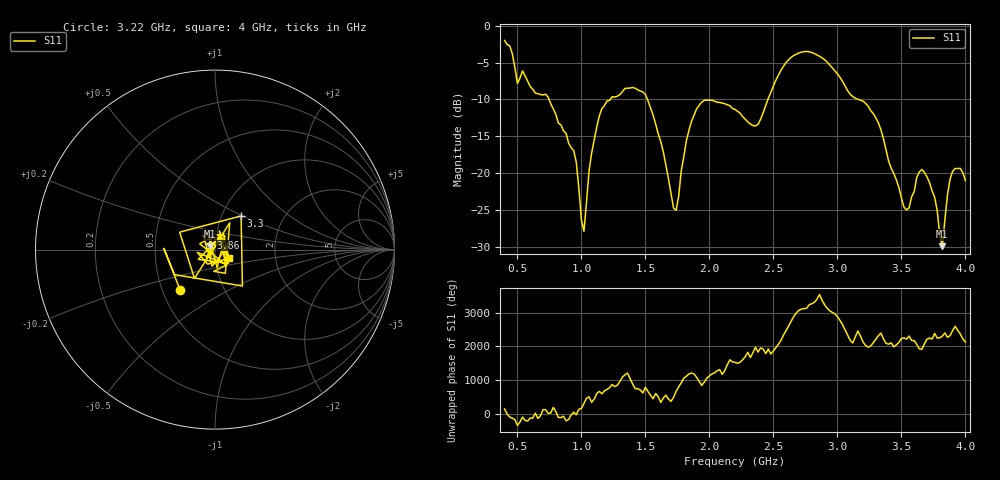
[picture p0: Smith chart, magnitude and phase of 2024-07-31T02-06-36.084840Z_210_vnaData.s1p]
!Created with skrf (http://scikit-rf.org).
# Hz S RI R 50.0
!freq ReS11 ImS11
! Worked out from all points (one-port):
!   181 points, 400 MHz to 4 GHz, reference 50 ohm
!   lowest |S11| = -29.9 dB at 3.82 GHz (marker M1), VSWR 1.07, Z = 47.4 + j1.77 ohm
!   |S11| at or under -10 dB: 747 MHz to 1.226 GHz (478.8 MHz wide, 48.5 % of centre); 1.516 GHz to 2.457 GHz (941 MHz wide, 47.4 % of centre); 3.162 GHz to end of sweep
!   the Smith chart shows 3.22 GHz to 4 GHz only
!   S11 on the Smith chart (normalised r, x): 3.22 GHz: 0.62, -0.30; 3.3 GHz: 1.23, +0.49; 3.86 GHz: 0.95, +0.13; 4 GHz: 1.16, -0.11
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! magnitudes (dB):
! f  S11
! 400 MHz  -2.0
! 500 MHz  -7.8
! 720 MHz  -9.3
! 860 MHz  -14.3
! 960 MHz  -18.5
! 1.02 GHz  -27.9
! 1.06 GHz  -19.6
! 1.14 GHz  -12.2
! 1.3 GHz  -9.4
! 1.5 GHz  -9.3
! 1.72 GHz  -24.7
! 1.76 GHz  -23.1
! 1.82 GHz  -15.6
! 1.9 GHz  -11.3
! 2.2 GHz  -11.4
! 2.38 GHz  -13.4
! 2.66 GHz  -4.0
! 2.88 GHz  -4.4
! 3.1 GHz  -9.3
! 3.22 GHz  -10.5
! 3.3 GHz  -12.5
! 3.56 GHz  -24.7
! 3.66 GHz  -19.5
! 3.76 GHz  -23.3
! 3.82 GHz  -29.9
! 3.86 GHz  -22.9
! 3.92 GHz  -19.4
! 4 GHz  -21.0
